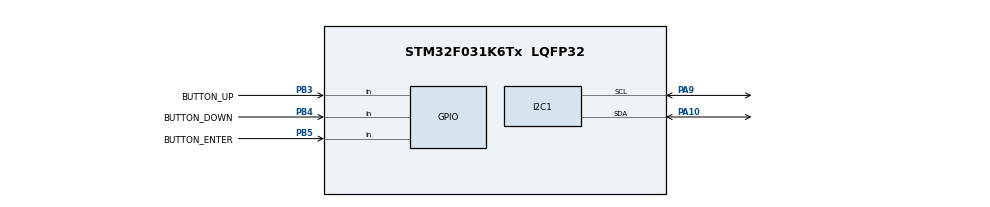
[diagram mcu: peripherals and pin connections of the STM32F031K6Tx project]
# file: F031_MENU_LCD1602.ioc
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Mcu.Family=STM32F0
Mcu.Name=STM32F031K6Tx
Mcu.Package=LQFP32
NVIC.TIM16_IRQn=true\:0\:0\:false\:false\:true\:true\:true\:true
PA10.Mode=I2C
PA10.Signal=I2C1_SDA
PA13.GPIO_Label=SWDIO
PA13.Mode=Serial_Wire
PA13.Signal=SYS_SWDIO
PA14.GPIO_Label=SWCLK
PA14.Mode=Serial_Wire
PA14.Signal=SYS_SWCLK
PA9.Mode=I2C
PA9.Signal=I2C1_SCL
PB3.GPIO_Label=BUTTON_UP
PB3.Signal=GPIO_Input
PB4.GPIO_Label=BUTTON_DOWN
PB4.Signal=GPIO_Input
PB5.GPIO_Label=BUTTON_ENTER
PB5.Signal=GPIO_Input
PF0-OSC_IN.Mode=HSE-External-Oscillator
PF0-OSC_IN.Signal=RCC_OSC_IN
PF1-OSC_OUT.Mode=HSE-External-Oscillator
PF1-OSC_OUT.Signal=RCC_OSC_OUT
ProjectManager.HeapSize=0x200
ProjectManager.StackSize=0x400
ProjectManager.TargetToolchain=STM32CubeIDE
TIM16.Period=10
TIM16.Prescaler=4799
VP_TIM16_VS_ClockSourceINT.Mode=Enable_Timer
board=NUCLEO-F031K6

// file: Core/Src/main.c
/* USER CODE BEGIN Header */
/**
  ******************************************************************************
  * @file           : main.c
  * @brief          : Main program body
  ******************************************************************************
  * @attention
  *
  * Copyright (c) 2023 STMicroelectronics.
  * All rights reserved.
  *
  * This software is licensed under terms that can be found in the LICENSE file
  * in the root directory of this software component.
  * If no LICENSE file comes with this software, it is provided AS-IS.
  *
  ******************************************************************************
  */
/* USER CODE END Header */
#include "main.h"

/* USER CODE BEGIN Includes */
#include "button.h"
#include "lcd1602_i2c_lib.h"
#include "stdio.h"
#include "stdbool.h"
/* USER CODE END Includes */

I2C_HandleTypeDef hi2c1;

TIM_HandleTypeDef htim16;

/* USER CODE BEGIN PV */
extern char tx_buffer_lcd[40];

uint8_t counter_up = 0;
uint8_t counter_down = 0;
uint8_t counter_enter = 0;
/* USER CODE END PV */

void SystemClock_Config(void);
static void MX_GPIO_Init(void);
static void MX_I2C1_Init(void);
static void MX_TIM16_Init(void);
/* USER CODE BEGIN PFP */
void Button_Processing(void);
/* USER CODE END PFP */

int main(void)
{

  /* MCU Configuration--------------------------------------------------------*/

  /* Reset of all peripherals, Initializes the Flash interface and the Systick. */
  HAL_Init();

  /* Configure the system clock */
  SystemClock_Config();

  /* Initialize all configured peripherals */
  MX_GPIO_Init();
  MX_I2C1_Init();
  MX_TIM16_Init();
  /* USER CODE BEGIN 2 */
  HAL_Delay(100);
  lcd1602_Init();
  HAL_TIM_Base_Start_IT(&htim16);
  lcd1602_SetCursor(0, 0);
  sprintf(tx_buffer_lcd, "Goog job dude!   ");
  lcd1602_Print_text(tx_buffer_lcd);
  /* USER CODE END 2 */

  /* Infinite loop */
  /* USER CODE BEGIN WHILE */
  while (1)
  {
	  BUTTON_Process();
	  Button_Processing();
    /* USER CODE END WHILE */

  }
}

void SystemClock_Config(void)
{
  RCC_OscInitTypeDef RCC_OscInitStruct = {0};
  RCC_ClkInitTypeDef RCC_ClkInitStruct = {0};
  RCC_PeriphCLKInitTypeDef PeriphClkInit = {0};

  /** Initializes the RCC Oscillators according to the specified parameters
  * in the RCC_OscInitTypeDef structure.
  */
  RCC_OscInitStruct.OscillatorType = RCC_OSCILLATORTYPE_HSI;
  RCC_OscInitStruct.HSIState = RCC_HSI_ON;
  RCC_OscInitStruct.HSICalibrationValue = RCC_HSICALIBRATION_DEFAULT;
  RCC_OscInitStruct.PLL.PLLState = RCC_PLL_NONE;
  if (HAL_RCC_OscConfig(&RCC_OscInitStruct) != HAL_OK)
  {
    Error_Handler();
  }

  /** Initializes the CPU, AHB and APB buses clocks
  */
  RCC_ClkInitStruct.ClockType = RCC_CLOCKTYPE_HCLK|RCC_CLOCKTYPE_SYSCLK
                              |RCC_CLOCKTYPE_PCLK1;
  RCC_ClkInitStruct.SYSCLKSource = RCC_SYSCLKSOURCE_HSI;
  RCC_ClkInitStruct.AHBCLKDivider = RCC_SYSCLK_DIV1;
  RCC_ClkInitStruct.APB1CLKDivider = RCC_HCLK_DIV1;

  if (HAL_RCC_ClockConfig(&RCC_ClkInitStruct, FLASH_LATENCY_0) != HAL_OK)
  {
    Error_Handler();
  }
  PeriphClkInit.PeriphClockSelection = RCC_PERIPHCLK_I2C1;
  PeriphClkInit.I2c1ClockSelection = RCC_I2C1CLKSOURCE_HSI;
  if (HAL_RCCEx_PeriphCLKConfig(&PeriphClkInit) != HAL_OK)
  {
    Error_Handler();
  }
}

static void MX_I2C1_Init(void)
{

  hi2c1.Instance = I2C1;
  hi2c1.Init.Timing = 0x2000090E;
  hi2c1.Init.OwnAddress1 = 0;
  hi2c1.Init.AddressingMode = I2C_ADDRESSINGMODE_7BIT;
  hi2c1.Init.DualAddressMode = I2C_DUALADDRESS_DISABLE;
  hi2c1.Init.OwnAddress2 = 0;
  hi2c1.Init.OwnAddress2Masks = I2C_OA2_NOMASK;
  hi2c1.Init.GeneralCallMode = I2C_GENERALCALL_DISABLE;
  hi2c1.Init.NoStretchMode = I2C_NOSTRETCH_DISABLE;
  if (HAL_I2C_Init(&hi2c1) != HAL_OK)
  {
    Error_Handler();
  }

  /** Configure Analogue filter
  */
  if (HAL_I2CEx_ConfigAnalogFilter(&hi2c1, I2C_ANALOGFILTER_ENABLE) != HAL_OK)
  {
    Error_Handler();
  }

  /** Configure Digital filter
  */
  if (HAL_I2CEx_ConfigDigitalFilter(&hi2c1, 0) != HAL_OK)
  {
    Error_Handler();
  }

}

static void MX_TIM16_Init(void)
{

  htim16.Instance = TIM16;
  htim16.Init.Prescaler = 4799;
  htim16.Init.CounterMode = TIM_COUNTERMODE_UP;
  htim16.Init.Period = 10;
  htim16.Init.ClockDivision = TIM_CLOCKDIVISION_DIV1;
  htim16.Init.RepetitionCounter = 0;
  htim16.Init.AutoReloadPreload = TIM_AUTORELOAD_PRELOAD_DISABLE;
  if (HAL_TIM_Base_Init(&htim16) != HAL_OK)
  {
    Error_Handler();
  }

}

static void MX_GPIO_Init(void)
{
  GPIO_InitTypeDef GPIO_InitStruct = {0};

  /* GPIO Ports Clock Enable */
  __HAL_RCC_GPIOF_CLK_ENABLE();
  __HAL_RCC_GPIOA_CLK_ENABLE();
  __HAL_RCC_GPIOB_CLK_ENABLE();

  /*Configure GPIO pins : BUTTON_UP_Pin BUTTON_DOWN_Pin BUTTON_ENTER_Pin */
  GPIO_InitStruct.Pin = BUTTON_UP_Pin|BUTTON_DOWN_Pin|BUTTON_ENTER_Pin;
  GPIO_InitStruct.Mode = GPIO_MODE_INPUT;
  GPIO_InitStruct.Pull = GPIO_NOPULL;
  HAL_GPIO_Init(GPIOB, &GPIO_InitStruct);

}

/* USER CODE BEGIN 4 */
void Button_Processing(){
	if(BUTTON_GetAction(BUTTON_UP) == BUTTON_SHORT_PRESS){
		counter_up++;
	}
	if(BUTTON_GetAction(BUTTON_DOWN) == BUTTON_SHORT_PRESS){
		counter_down++;
	}
	if(BUTTON_GetAction(BUTTON_ENTER) == BUTTON_SHORT_PRESS){
		counter_enter++;
	}
	if(BUTTON_GetAction(BUTTON_ENTER) == BUTTON_LONG_PRESS){
		counter_up = 0;
		counter_down = 0;
		counter_enter = 0;
	}
	BUTTON_ResetActions();

}

void HAL_TIM_PeriodElapsedCallback(TIM_HandleTypeDef *htim){
	if(htim->Instance == htim16.Instance){
		BUTTON_TimerProcess();
	}
}
/* USER CODE END 4 */

void Error_Handler(void)
{
  __disable_irq();
  while (1)
  {
  }
}
